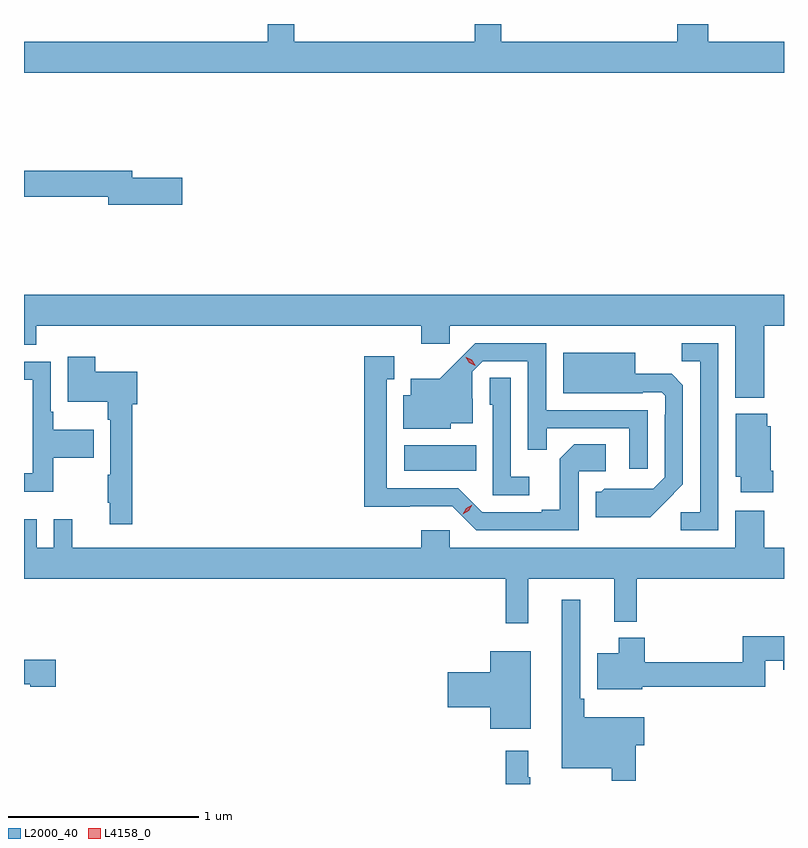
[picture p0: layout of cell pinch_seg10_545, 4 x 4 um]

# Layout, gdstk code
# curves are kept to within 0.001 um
import gdstk
lib = gdstk.Library(unit=1e-6, precision=1e-09)
def R(c, l, rs):  # rectangles x0, y0, x1, y1
    for r in rs: c.add(gdstk.rectangle(r[:2], r[2:], *l))
def P(c, l, *ps):  # polygons
    for p in ps: c.add(gdstk.Polygon(p, *l))
L2000_40 = (2000, 40)
L4158_0 = (4158, 0)

pinch_seg10_545 = lib.new_cell('pinch_seg10_545')
R(pinch_seg10_545, L2000_40, [(354.048,1272.914,354.428,1273.048)])
P(pinch_seg10_545, L2000_40, [(353.33,1275.265),(353.33,1275.172),(352.047,1275.172),(352.047,1275.008),(356.047,1275.008),(356.047,1275.172),(355.648,1275.172),(355.648,1275.265),(355.484,1275.265),(355.484,1275.172),(354.559,1275.172),(354.559,1275.265),(354.419,1275.265),(354.419,1275.172),(353.469,1275.172),(353.469,1275.265)],
  [(354.33,1275.265),(353.605,1275.265),(353.606,1275.264),(354.33,1275.264)],
  [(352.879,1274.456),(352.618,1274.456),(352.618,1274.492),(352.047,1274.492),(352.047,1274.356),(352.49,1274.356),(352.49,1274.314),(352.879,1274.314)],
  [(352.047,1273.577),(352.112,1273.577),(352.112,1273.676),(354.137,1273.676),(354.137,1273.581),(354.288,1273.581),(354.288,1273.676),(355.79,1273.676),(355.79,1273.298),(355.943,1273.298),(355.943,1273.676),(356.047,1273.676),(356.047,1273.84),(352.047,1273.84)],
  [(355.329,1273.233),(354.795,1273.233),(354.795,1273.584),(354.422,1273.584),(354.235,1273.399),(354.083,1273.399),(354.083,1273.312),(354.044,1273.312),(354.044,1273.136),(354.294,1273.136),(354.294,1273.163),(354.409,1273.163),(354.409,1273.292),(354.405,1273.292),(354.405,1273.434),(354.462,1273.491),(354.699,1273.491),(354.699,1273.024),(354.797,1273.024),(354.797,1273.137),(355.233,1273.137),(355.233,1272.924),(355.329,1272.924)],
  [(355.701,1273.584),(355.51,1273.584),(355.51,1273.489),(355.605,1273.489),(355.605,1272.696),(355.503,1272.696),(355.503,1272.6),(355.701,1272.6)],
  [(355.423,1272.749),(355.515,1272.842),(355.515,1273.364),(355.456,1273.423),(355.264,1273.423),(355.264,1273.534),(354.884,1273.534),(354.884,1273.322),(355.304,1273.322),(355.304,1273.326),(355.404,1273.326),(355.422,1273.308),(355.422,1273.208),(355.419,1273.208),(355.419,1272.879),(355.359,1272.819),(355.102,1272.82),(355.086,1272.804),(355.055,1272.804),(355.055,1272.668),(355.343,1272.668)],
  [(354.966,1272.912),(355.108,1272.912),(355.108,1273.052),(354.943,1273.052),(354.867,1272.976),(354.867,1272.709),(354.773,1272.709),(354.773,1272.696),(354.459,1272.696),(354.333,1272.822),(353.956,1272.822),(353.956,1273.395),(353.995,1273.395),(353.995,1273.516),(353.838,1273.516),(353.838,1272.725),(354.3,1272.726),(354.426,1272.6),(354.966,1272.6)],
  [(352.616,1273.265),(352.643,1273.265),(352.643,1273.435),(352.421,1273.435),(352.421,1273.513),(352.277,1273.513),(352.277,1273.277),(352.488,1273.277),(352.488,1273.181),(352.5,1273.181),(352.5,1272.893),(352.488,1272.893),(352.488,1272.745),(352.499,1272.745),(352.499,1272.633),(352.616,1272.633)],
  [(352.201,1272.982),(352.415,1272.982),(352.415,1273.129),(352.201,1273.129),(352.201,1273.225),(352.188,1273.225),(352.188,1273.488),(352.047,1273.488),(352.047,1273.392),(352.092,1273.392),(352.092,1272.9),(352.047,1272.9),(352.047,1272.803),(352.201,1272.803)],
  [(354.706,1272.883),(354.609,1272.883),(354.609,1273.403),(354.498,1273.403),(354.498,1273.26),(354.513,1273.26),(354.513,1272.786),(354.706,1272.786)],
  [(355.991,1272.913),(355.978,1272.913),(355.978,1273.149),(355.96,1273.149),(355.96,1273.213),(355.793,1273.213),(355.793,1272.882),(355.82,1272.882),(355.82,1272.801),(355.991,1272.801)],
  [(354.701,1272.344),(355.154,1272.344),(355.154,1272.119),(355.271,1272.119),(355.271,1272.344),(356.047,1272.344),(356.047,1272.508),(355.943,1272.508),(355.943,1272.703),(355.79,1272.703),(355.79,1272.508),(354.288,1272.508),(354.288,1272.601),(354.137,1272.601),(354.137,1272.508),(352.301,1272.508),(352.301,1272.658),(352.203,1272.658),(352.203,1272.508),(352.113,1272.508),(352.113,1272.658),(352.047,1272.658),(352.047,1272.344),(354.583,1272.344),(354.583,1272.111),(354.701,1272.111)],
  [(355.268,1271.47),(355.312,1271.47),(355.312,1271.617),(354.995,1271.617),(354.995,1271.713),(354.975,1271.713),(354.975,1272.235),(354.878,1272.235),(354.878,1271.348),(355.14,1271.348),(355.14,1271.283),(355.268,1271.283)],
  [(355.3,1271.776),(355.947,1271.776),(355.947,1271.914),(356.042,1271.914),(356.042,1271.867),(356.047,1271.867),(356.047,1272.043),(355.831,1272.043),(355.831,1271.905),(355.313,1271.905),(355.313,1272.034),(355.178,1272.034),(355.178,1271.953),(355.064,1271.953),(355.064,1271.765),(355.3,1271.765)],
  [(354.715,1271.965),(354.5,1271.965),(354.5,1271.852),(354.276,1271.852),(354.276,1271.669),(354.5,1271.669),(354.5,1271.555),(354.715,1271.555)],
  [(352.213,1271.919),(352.047,1271.919),(352.047,1271.789),(352.08,1271.789),(352.08,1271.777),(352.213,1271.777)],
  [(354.712,1271.3),(354.7,1271.3),(354.7,1271.44),(354.583,1271.44),(354.583,1271.265),(354.712,1271.265)])
P(pinch_seg10_545, L4158_0, [(354.421,1273.467),(354.391,1273.482),(354.373,1273.512),(354.373,1273.512),(354.374,1273.512),(354.404,1273.497),(354.422,1273.468),(354.422,1273.467)],
  [(354.356,1272.684),(354.356,1272.684),(354.374,1272.717),(354.405,1272.736),(354.406,1272.736),(354.406,1272.736),(354.388,1272.703),(354.356,1272.684)])

lib.write_gds('pinch_seg10_545.gds')
